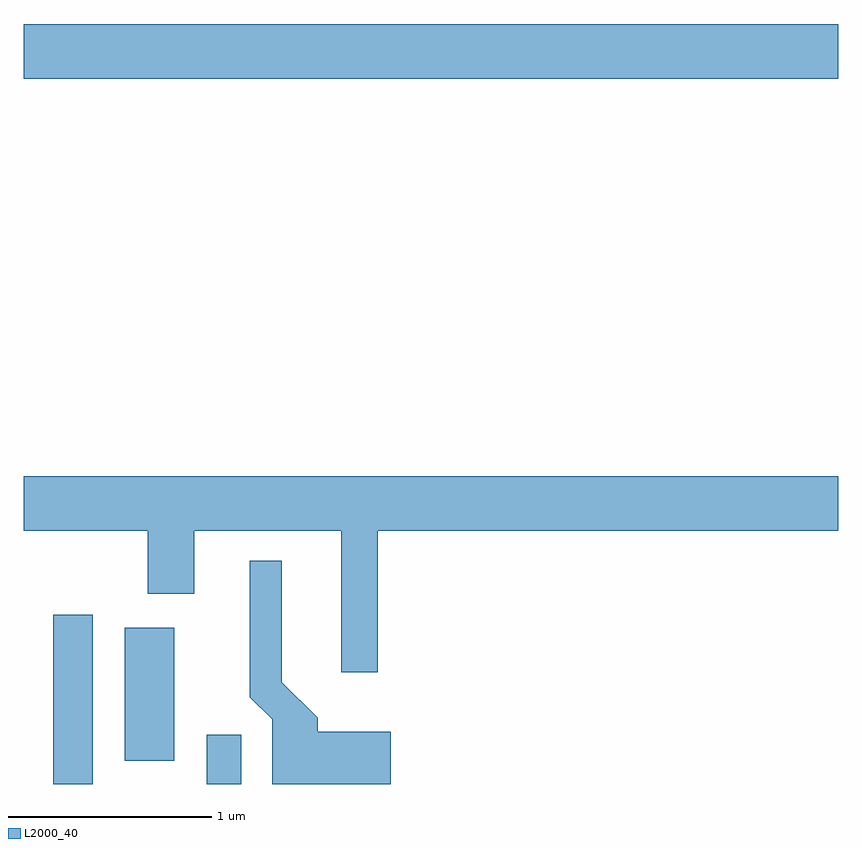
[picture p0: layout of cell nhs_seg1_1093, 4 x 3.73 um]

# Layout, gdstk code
import gdstk
lib = gdstk.Library(unit=1e-6, precision=1e-09)
def R(c, l, rs):  # rectangles x0, y0, x1, y1
    for r in rs: c.add(gdstk.rectangle(r[:2], r[2:], *l))
def P(c, l, *ps):  # polygons
    for p in ps: c.add(gdstk.Polygon(p, *l))
L2000_40 = (2000, 40)

nhs_seg1_1093 = lib.new_cell('nhs_seg1_1093')
R(nhs_seg1_1093, L2000_40, [(219.756,851.712,219.949,852.544), (220.511,851.712,220.679,851.953), (220.106,851.826,220.349,852.479), (219.611,855.176,223.611,855.444)])
P(nhs_seg1_1093, L2000_40, [(221.349,852.956),(223.611,852.956),(223.611,853.224),(219.611,853.224),(219.611,852.956),(220.221,852.956),(220.221,852.646),(220.449,852.646),(220.449,852.956),(221.171,852.956),(221.171,852.261),(221.349,852.261)],
  [(221.414,851.969),(221.054,851.969),(221.054,852.037),(220.879,852.212),(220.879,852.808),(220.721,852.808),(220.721,852.139),(220.831,852.029),(220.831,851.712),(221.414,851.712)])

lib.write_gds('nhs_seg1_1093.gds')
